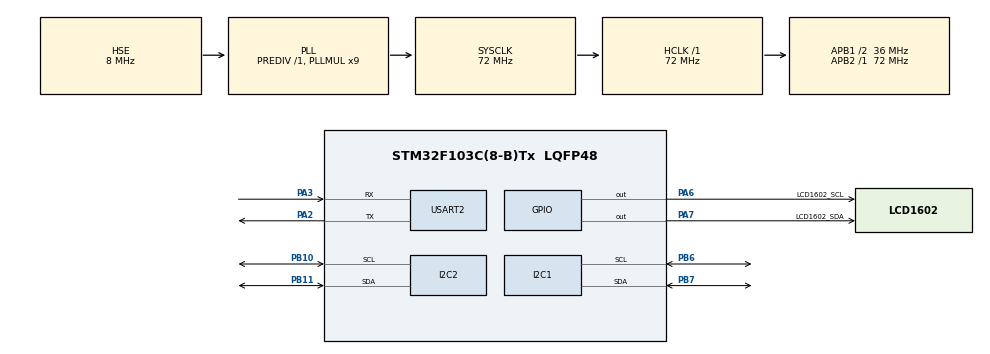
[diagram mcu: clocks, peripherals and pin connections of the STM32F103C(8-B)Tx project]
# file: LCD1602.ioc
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I2C1.I2C_Mode=I2C_Fast
I2C2.I2C_Mode=I2C_Fast
Mcu.Family=STM32F1
Mcu.Name=STM32F103C(8-B)Tx
Mcu.Package=LQFP48
NVIC.PriorityGroup=NVIC_PRIORITYGROUP_4
NVIC.USART2_IRQn=true\:0\:0\:false\:false\:true\:true\:true
PA13.Mode=Serial_Wire
PA13.Signal=SYS_JTMS-SWDIO
PA14.Mode=Serial_Wire
PA14.Signal=SYS_JTCK-SWCLK
PA2.Mode=Asynchronous
PA2.Signal=USART2_TX
PA3.Mode=Asynchronous
PA3.Signal=USART2_RX
PA6.GPIO_Label=LCD1602_SCL
PA6.GPIO_PuPd=GPIO_PULLUP
PA6.GPIO_Speed=GPIO_SPEED_FREQ_HIGH
PA6.PinState=GPIO_PIN_SET
PA6.Signal=GPIO_Output
PA7.GPIO_Label=LCD1602_SDA
PA7.GPIO_PuPd=GPIO_PULLUP
PA7.GPIO_Speed=GPIO_SPEED_FREQ_HIGH
PA7.PinState=GPIO_PIN_SET
PA7.Signal=GPIO_Output
PB10.Mode=I2C
PB10.Signal=I2C2_SCL
PB11.Mode=I2C
PB11.Signal=I2C2_SDA
PB6.Mode=I2C
PB6.Signal=I2C1_SCL
PB7.Mode=I2C
PB7.Signal=I2C1_SDA
PD0-OSC_IN.Mode=HSE-External-Oscillator
PD0-OSC_IN.Signal=RCC_OSC_IN
PD1-OSC_OUT.Mode=HSE-External-Oscillator
PD1-OSC_OUT.Signal=RCC_OSC_OUT
ProjectManager.HeapSize=0x200
ProjectManager.StackSize=0x400
ProjectManager.TargetToolchain=MDK-ARM V5.27
RCC.AHBFreq_Value=72000000
RCC.APB1CLKDivider=RCC_HCLK_DIV2
RCC.APB1Freq_Value=36000000
RCC.APB1TimFreq_Value=72000000
RCC.APB2Freq_Value=72000000
RCC.APB2TimFreq_Value=72000000
RCC.HCLKFreq_Value=72000000
RCC.PLLMUL=RCC_PLL_MUL9
RCC.PLLSourceVirtual=RCC_PLLSOURCE_HSE
RCC.SYSCLKFreq_VALUE=72000000
RCC.SYSCLKSource=RCC_SYSCLKSOURCE_PLLCLK
RCC.USBFreq_Value=72000000
USART2.VirtualMode=VM_ASYNC
board=custom

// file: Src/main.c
/* USER CODE BEGIN Header */
/**
  ******************************************************************************
  * @file           : main.c
  * @brief          : Main program body
  ******************************************************************************
  * @attention
  *
  * <h2><center>&copy; Copyright (c) 2020 STMicroelectronics.
  * All rights reserved.</center></h2>
  *
  * This software component is licensed by ST under BSD 3-Clause license,
  * the "License"; You may not use this file except in compliance with the
  * License. You may obtain a copy of the License at:
  *                        opensource.org/licenses/BSD-3-Clause
  *
  ******************************************************************************
  */
/* USER CODE END Header */

#include "main.h"
#include "i2c.h"
#include "usart.h"
#include "gpio.h"

/* USER CODE BEGIN Includes */
#include "lcd_1602.h"
#include "bh1750.h"
#include "stdio.h"
/* USER CODE END Includes */

/* USER CODE BEGIN PTD */
char buf1[100];
char buf2[100];
float BH1750_lux;
float BH1750_lux1;
/* USER CODE END PTD */

void SystemClock_Config(void);

int main(void)
{

  /* MCU Configuration--------------------------------------------------------*/

  /* Reset of all peripherals, Initializes the Flash interface and the Systick. */
  HAL_Init();

  /* Configure the system clock */
  SystemClock_Config();

  /* Initialize all configured peripherals */
  MX_GPIO_Init();
  MX_I2C1_Init();
  MX_I2C2_Init();
  MX_USART2_UART_Init();
  /* USER CODE BEGIN 2 */
	lcd_init();
	BH1750_Init(&hi2c1);
	BH1750_SetMode(CONTINUOUS_HIGH_RES_MODE_2);
	BH1750_Init1(&hi2c2);
	BH1750_SetMode1(CONTINUOUS_HIGH_RES_MODE_2);
  /* USER CODE END 2 */

  /* Infinite loop */
  while (1)
  {

    /* USER CODE BEGIN 3 */

		BH1750_ReadLight(&BH1750_lux);
		sprintf(buf1,"LUX:%8.2f",BH1750_lux);
		lcd_put_cur(0,1);
		lcd_send_string(buf1);
		BH1750_ReadLight1(&BH1750_lux1);
		sprintf(buf2,"LUX1:%8.2f",BH1750_lux1);
		lcd_put_cur(1,0);
		lcd_send_string(buf2);
		Vcan_Send(BH1750_lux,BH1750_lux1);
		HAL_Delay(500);
//		lcd_clear();
//		HAL_Delay(1);

  }
  /* USER CODE END 3 */
}

void SystemClock_Config(void)
{
  RCC_OscInitTypeDef RCC_OscInitStruct = {0};
  RCC_ClkInitTypeDef RCC_ClkInitStruct = {0};

  /** Initializes the CPU, AHB and APB busses clocks
  */
  RCC_OscInitStruct.OscillatorType = RCC_OSCILLATORTYPE_HSE;
  RCC_OscInitStruct.HSEState = RCC_HSE_ON;
  RCC_OscInitStruct.HSEPredivValue = RCC_HSE_PREDIV_DIV1;
  RCC_OscInitStruct.HSIState = RCC_HSI_ON;
  RCC_OscInitStruct.PLL.PLLState = RCC_PLL_ON;
  RCC_OscInitStruct.PLL.PLLSource = RCC_PLLSOURCE_HSE;
  RCC_OscInitStruct.PLL.PLLMUL = RCC_PLL_MUL9;
  if (HAL_RCC_OscConfig(&RCC_OscInitStruct) != HAL_OK)
  {
    Error_Handler();
  }
  /** Initializes the CPU, AHB and APB busses clocks
  */
  RCC_ClkInitStruct.ClockType = RCC_CLOCKTYPE_HCLK|RCC_CLOCKTYPE_SYSCLK
                              |RCC_CLOCKTYPE_PCLK1|RCC_CLOCKTYPE_PCLK2;
  RCC_ClkInitStruct.SYSCLKSource = RCC_SYSCLKSOURCE_PLLCLK;
  RCC_ClkInitStruct.AHBCLKDivider = RCC_SYSCLK_DIV1;
  RCC_ClkInitStruct.APB1CLKDivider = RCC_HCLK_DIV2;
  RCC_ClkInitStruct.APB2CLKDivider = RCC_HCLK_DIV1;

  if (HAL_RCC_ClockConfig(&RCC_ClkInitStruct, FLASH_LATENCY_2) != HAL_OK)
  {
    Error_Handler();
  }
}

void Error_Handler(void)
{
}

/************************ (C) COPYRIGHT STMicroelectronics *****END OF FILE****/
